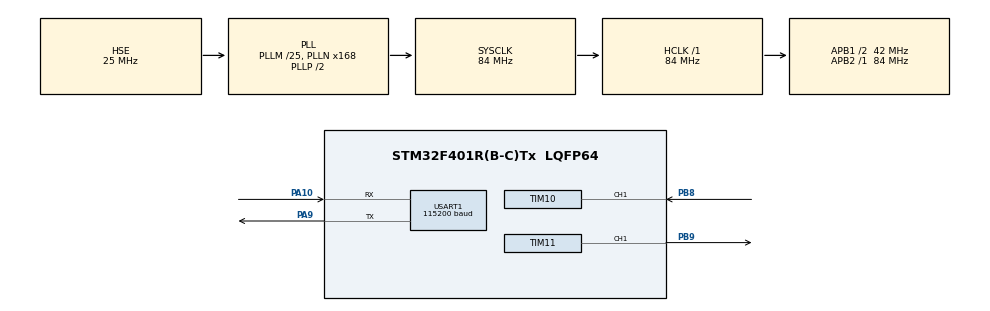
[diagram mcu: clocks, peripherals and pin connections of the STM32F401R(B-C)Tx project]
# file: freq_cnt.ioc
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Mcu.Family=STM32F4
Mcu.Name=STM32F401R(B-C)Tx
Mcu.Package=LQFP64
NVIC.PriorityGroup=NVIC_PRIORITYGROUP_4
NVIC.TIM1_UP_TIM10_IRQn=true\:0\:0\:false\:false\:true\:true\:true\:true
PA10.Mode=Asynchronous
PA10.Signal=USART1_RX
PA9.Mode=Asynchronous
PA9.Signal=USART1_TX
PB8.Signal=S_TIM10_CH1
PB9.Signal=S_TIM11_CH1
PH0\ -\ OSC_IN.Mode=HSE-External-Oscillator
PH0\ -\ OSC_IN.Signal=RCC_OSC_IN
PH1\ -\ OSC_OUT.Mode=HSE-External-Oscillator
PH1\ -\ OSC_OUT.Signal=RCC_OSC_OUT
ProjectManager.HeapSize=0x200
ProjectManager.StackSize=0x400
ProjectManager.TargetToolchain=STM32CubeIDE
RCC.48MHZClocksFreq_Value=42000000
RCC.AHBFreq_Value=84000000
RCC.APB1CLKDivider=RCC_HCLK_DIV2
RCC.APB1Freq_Value=42000000
RCC.APB1TimFreq_Value=84000000
RCC.APB2Freq_Value=84000000
RCC.APB2TimFreq_Value=84000000
RCC.CortexFreq_Value=84000000
RCC.HCLKFreq_Value=84000000
RCC.HSE_VALUE=25000000
RCC.HSI_VALUE=16000000
RCC.LSE_VALUE=32768
RCC.PLLM=25
RCC.PLLN=168
RCC.PLLSourceVirtual=RCC_PLLSOURCE_HSE
RCC.SYSCLKFreq_VALUE=84000000
RCC.SYSCLKSource=RCC_SYSCLKSOURCE_PLLCLK
RCC.VCOOutputFreq_Value=168000000
SH.S_TIM10_CH1.0=TIM10_CH1,Input_Capture1_from_TI1
SH.S_TIM11_CH1.0=TIM11_CH1,PWM Generation1 CH1
TIM10.AutoReloadPreload=TIM_AUTORELOAD_PRELOAD_ENABLE
TIM10.Channel=TIM_CHANNEL_1
TIM11.AutoReloadPreload=TIM_AUTORELOAD_PRELOAD_ENABLE
TIM11.Channel=TIM_CHANNEL_1
TIM11.Period=999
TIM11.Prescaler=83
USART1.BaudRate=115200
USART1.VirtualMode=VM_ASYNC
VP_TIM10_VS_ClockSourceINT.Mode=Enable_Timer
VP_TIM11_VS_ClockSourceINT.Mode=Enable_Timer
board=custom

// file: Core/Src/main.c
/* USER CODE BEGIN Header */
/**
  ******************************************************************************
  * @file           : main.c
  * @brief          : Main program body
  ******************************************************************************
  * @attention
  *
  * Copyright (c) 2025 STMicroelectronics.
  * All rights reserved.
  *
  * This software is licensed under terms that can be found in the LICENSE file
  * in the root directory of this software component.
  * If no LICENSE file comes with this software, it is provided AS-IS.
  *
  ******************************************************************************
  */
/* USER CODE END Header */
#include "main.h"

/* USER CODE BEGIN PD */
#define IDLE   0
#define DONE   1
#define F_CLK  84000000UL
/* USER CODE END PD */

TIM_HandleTypeDef htim10;
TIM_HandleTypeDef htim11;

UART_HandleTypeDef huart1;

/* USER CODE BEGIN PV */
volatile uint8_t gu8_State = IDLE;
volatile uint8_t gu8_MSG[35] = {'\0'};
volatile uint32_t gu32_T1 = 0;
volatile uint32_t gu32_T2 = 0;
volatile uint32_t gu32_Ticks = 0;
volatile uint16_t gu16_TIM2_OVC = 0;
volatile uint32_t gu32_Freq = 0;
/* USER CODE END PV */

void SystemClock_Config(void);
static void MX_GPIO_Init(void);
static void MX_USART1_UART_Init(void);
static void MX_TIM10_Init(void);
static void MX_TIM11_Init(void);

int main(void)
{

  /* MCU Configuration--------------------------------------------------------*/

  /* Reset of all peripherals, Initializes the Flash interface and the Systick. */
  HAL_Init();

  /* Configure the system clock */
  SystemClock_Config();

  /* Initialize all configured peripherals */
  MX_GPIO_Init();
  MX_USART1_UART_Init();
  MX_TIM10_Init();
  MX_TIM11_Init();
  /* USER CODE BEGIN 2 */
  HAL_TIM_Base_Start_IT(&htim10);
  HAL_TIM_IC_Start_IT(&htim10, TIM_CHANNEL_1);
  HAL_TIM_PWM_Start(&htim11, TIM_CHANNEL_1);
  TIM11->CCR1 = TIM11->ARR / 2;
  /* USER CODE END 2 */

  /* Infinite loop */
  /* USER CODE BEGIN WHILE */
  while (1)
  {
    sprintf(gu8_MSG, "Frequency = %lu Hz\n\r", gu32_Freq);
    HAL_UART_Transmit(&huart1, gu8_MSG, sizeof(gu8_MSG), 100);
    HAL_Delay(250);
    /* USER CODE END WHILE */

  }
}

void SystemClock_Config(void)
{
  RCC_OscInitTypeDef RCC_OscInitStruct = {0};
  RCC_ClkInitTypeDef RCC_ClkInitStruct = {0};

  /** Configure the main internal regulator output voltage
  */
  __HAL_RCC_PWR_CLK_ENABLE();
  __HAL_PWR_VOLTAGESCALING_CONFIG(PWR_REGULATOR_VOLTAGE_SCALE2);

  /** Initializes the RCC Oscillators according to the specified parameters
  * in the RCC_OscInitTypeDef structure.
  */
  RCC_OscInitStruct.OscillatorType = RCC_OSCILLATORTYPE_HSE;
  RCC_OscInitStruct.HSEState = RCC_HSE_ON;
  RCC_OscInitStruct.PLL.PLLState = RCC_PLL_ON;
  RCC_OscInitStruct.PLL.PLLSource = RCC_PLLSOURCE_HSE;
  RCC_OscInitStruct.PLL.PLLM = 25;
  RCC_OscInitStruct.PLL.PLLN = 168;
  RCC_OscInitStruct.PLL.PLLP = RCC_PLLP_DIV2;
  RCC_OscInitStruct.PLL.PLLQ = 4;
  if (HAL_RCC_OscConfig(&RCC_OscInitStruct) != HAL_OK)
  {
    Error_Handler();
  }

  /** Initializes the CPU, AHB and APB buses clocks
  */
  RCC_ClkInitStruct.ClockType = RCC_CLOCKTYPE_HCLK|RCC_CLOCKTYPE_SYSCLK
                              |RCC_CLOCKTYPE_PCLK1|RCC_CLOCKTYPE_PCLK2;
  RCC_ClkInitStruct.SYSCLKSource = RCC_SYSCLKSOURCE_PLLCLK;
  RCC_ClkInitStruct.AHBCLKDivider = RCC_SYSCLK_DIV1;
  RCC_ClkInitStruct.APB1CLKDivider = RCC_HCLK_DIV2;
  RCC_ClkInitStruct.APB2CLKDivider = RCC_HCLK_DIV1;

  if (HAL_RCC_ClockConfig(&RCC_ClkInitStruct, FLASH_LATENCY_2) != HAL_OK)
  {
    Error_Handler();
  }
}

static void MX_TIM10_Init(void)
{

  TIM_IC_InitTypeDef sConfigIC = {0};

  htim10.Instance = TIM10;
  htim10.Init.Prescaler = 0;
  htim10.Init.CounterMode = TIM_COUNTERMODE_UP;
  htim10.Init.Period = 65535;
  htim10.Init.ClockDivision = TIM_CLOCKDIVISION_DIV1;
  htim10.Init.AutoReloadPreload = TIM_AUTORELOAD_PRELOAD_ENABLE;
  if (HAL_TIM_Base_Init(&htim10) != HAL_OK)
  {
    Error_Handler();
  }
  if (HAL_TIM_IC_Init(&htim10) != HAL_OK)
  {
    Error_Handler();
  }
  sConfigIC.ICPolarity = TIM_INPUTCHANNELPOLARITY_RISING;
  sConfigIC.ICSelection = TIM_ICSELECTION_DIRECTTI;
  sConfigIC.ICPrescaler = TIM_ICPSC_DIV1;
  sConfigIC.ICFilter = 0;
  if (HAL_TIM_IC_ConfigChannel(&htim10, &sConfigIC, TIM_CHANNEL_1) != HAL_OK)
  {
    Error_Handler();
  }

}

static void MX_TIM11_Init(void)
{

  TIM_OC_InitTypeDef sConfigOC = {0};

  htim11.Instance = TIM11;
  htim11.Init.Prescaler = 83;
  htim11.Init.CounterMode = TIM_COUNTERMODE_UP;
  htim11.Init.Period = 999;
  htim11.Init.ClockDivision = TIM_CLOCKDIVISION_DIV1;
  htim11.Init.AutoReloadPreload = TIM_AUTORELOAD_PRELOAD_ENABLE;
  if (HAL_TIM_Base_Init(&htim11) != HAL_OK)
  {
    Error_Handler();
  }
  if (HAL_TIM_PWM_Init(&htim11) != HAL_OK)
  {
    Error_Handler();
  }
  sConfigOC.OCMode = TIM_OCMODE_PWM1;
  sConfigOC.Pulse = 0;
  sConfigOC.OCPolarity = TIM_OCPOLARITY_HIGH;
  sConfigOC.OCFastMode = TIM_OCFAST_DISABLE;
  if (HAL_TIM_PWM_ConfigChannel(&htim11, &sConfigOC, TIM_CHANNEL_1) != HAL_OK)
  {
    Error_Handler();
  }
  HAL_TIM_MspPostInit(&htim11);

}

static void MX_USART1_UART_Init(void)
{

  huart1.Instance = USART1;
  huart1.Init.BaudRate = 115200;
  huart1.Init.WordLength = UART_WORDLENGTH_8B;
  huart1.Init.StopBits = UART_STOPBITS_1;
  huart1.Init.Parity = UART_PARITY_NONE;
  huart1.Init.Mode = UART_MODE_TX_RX;
  huart1.Init.HwFlowCtl = UART_HWCONTROL_NONE;
  huart1.Init.OverSampling = UART_OVERSAMPLING_16;
  if (HAL_UART_Init(&huart1) != HAL_OK)
  {
    Error_Handler();
  }

}

static void MX_GPIO_Init(void)
{

  /* GPIO Ports Clock Enable */
  __HAL_RCC_GPIOH_CLK_ENABLE();
  __HAL_RCC_GPIOA_CLK_ENABLE();
  __HAL_RCC_GPIOB_CLK_ENABLE();

}

/* USER CODE BEGIN 4 */
void HAL_TIM_IC_CaptureCallback(TIM_HandleTypeDef* htim)
{
    if(gu8_State == IDLE)
    {
        gu32_T1 = TIM10->CCR1;
        gu16_TIM2_OVC = 0;
        gu8_State = DONE;
    }
    else if(gu8_State == DONE)
    {
        gu32_T2 = TIM10->CCR1;
        gu32_Ticks = (gu32_T2 + (gu16_TIM2_OVC * 65536)) - gu32_T1;
        gu32_Freq = (uint32_t)(F_CLK/gu32_Ticks);
//        if(gu32_Freq != 0)
//        {
//          sprintf(gu8_MSG, "Frequency = %lu Hz\n\r", gu32_Freq);
//          HAL_UART_Transmit(&huart1, gu8_MSG, sizeof(gu8_MSG), 100);
//        }
        gu8_State = IDLE;
    }
}

void HAL_TIM_PeriodElapsedCallback(TIM_HandleTypeDef* htim)
{
    gu16_TIM2_OVC++;
}
/* USER CODE END 4 */

void Error_Handler(void)
{
  __disable_irq();
  while (1)
  {
  }
}
